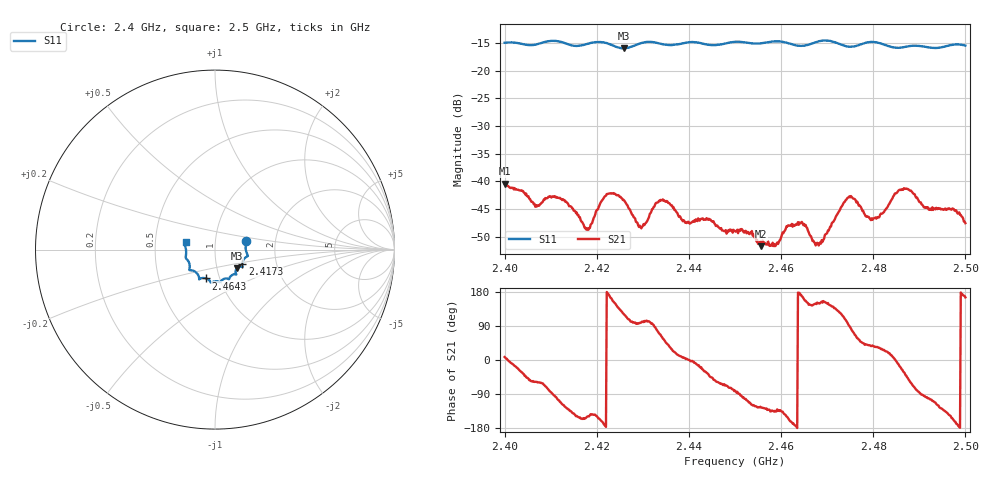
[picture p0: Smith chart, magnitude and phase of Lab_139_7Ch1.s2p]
# Hz S RI R 50
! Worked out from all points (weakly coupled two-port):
!   601 points, 2.4 GHz to 2.5 GHz, reference 50 ohm
!   highest |S21| = -40.41 dB at 2.4 GHz (marker M1); lowest = -51.7 dB at 2.4557 GHz (marker M2)
!   lowest |S11| = -15.9 dB at 2.4258 GHz (marker M3), VSWR 1.38, Z = 62.3 - j13.2 ohm
!   |S11| at or under -10 dB: start of sweep to end of sweep
!   S12 and S22 are empty: the file has one direction only
!   S11 on the Smith chart (normalised r, x): 2.4 GHz: 1.41, +0.14; 2.4173 GHz: 1.34, -0.23; 2.4643 GHz: 0.86, -0.28; 2.5 GHz: 0.72, +0.06
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2.4e9  0.1728 0.0489  0.00944 0.0013  0 0  0 0
2.407e9  0.1735 -0.0102  0.00316 -0.00499  0 0  0 0
2.4125e9  0.1771 -0.0392  -0.00303 -0.00604  0 0  0 0
2.416667e9  0.1528 -0.0743  -0.00391 -0.00184  0 0  0 0
2.417333e9  0.1519 -0.0817  -0.00341 -0.00171  0 0  0 0
2.4185e9  0.1524 -0.092  -0.00312 -0.00212  0 0  0 0
2.422167e9  0.1507 -0.0951  -0.00767 6.61e-05  0 0  0 0
2.425833e9  0.1217 -0.1035  -0.00356 0.00578  0 0  0 0
2.4295e9  0.1165 -0.1342  -0.000566 0.00379  0 0  0 0
2.433333e9  0.1131 -0.1374  0.00183 0.00619  0 0  0 0
2.439167e9  0.08 -0.1603  0.00421 0.000351  0 0  0 0
2.45e9  0.0291 -0.1809  0.000571 -0.00349  0 0  0 0
2.455667e9  -0.00398 -0.1774  -0.00149 -0.00211  0 0  0 0
2.458833e9  -0.0218 -0.1838  -0.00187 -0.00182  0 0  0 0
2.464333e9  -0.0499 -0.1607  -0.00416 0.000593  0 0  0 0
2.466667e9  -0.076 -0.1594  -0.00245 0.00179  0 0  0 0
2.468667e9  -0.0874 -0.1652  -0.00242 0.00125  0 0  0 0
2.474833e9  -0.1045 -0.1281  5.03e-05 0.00731  0 0  0 0
2.479667e9  -0.143 -0.1139  0.00369 0.00277  0 0  0 0
2.483333e9  -0.141 -0.0899  0.00582 0.00191  0 0  0 0
2.487167e9  -0.1562 -0.0547  0.00647 -0.00566  0 0  0 0
2.5e9  -0.164 0.0425  -0.00404 0.00107  0 0  0 0
